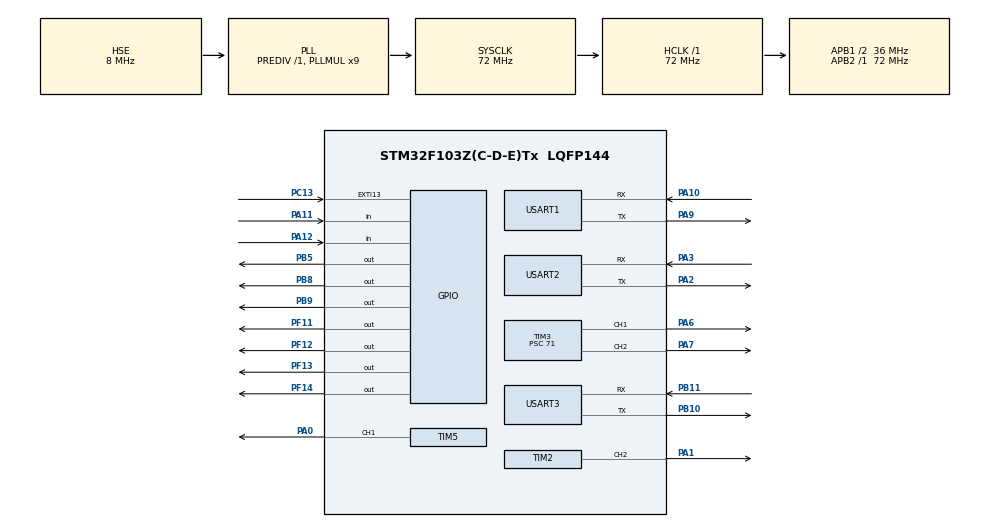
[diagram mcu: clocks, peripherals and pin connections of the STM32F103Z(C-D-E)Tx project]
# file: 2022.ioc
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Mcu.Family=STM32F1
Mcu.Name=STM32F103Z(C-D-E)Tx
Mcu.Package=LQFP144
NVIC.EXTI15_10_IRQn=true\:1\:0\:true\:false\:true\:true\:true\:true
NVIC.PriorityGroup=NVIC_PRIORITYGROUP_4
NVIC.TIM2_IRQn=true\:0\:0\:true\:false\:true\:true\:true\:true
NVIC.TIM5_IRQn=true\:0\:0\:false\:false\:true\:true\:true\:true
NVIC.TIM6_IRQn=true\:3\:0\:true\:false\:true\:true\:true\:true
NVIC.USART1_IRQn=true\:1\:0\:true\:false\:true\:true\:true\:true
NVIC.USART2_IRQn=true\:1\:0\:true\:false\:true\:true\:true\:true
OSC_IN.Mode=HSE-External-Oscillator
OSC_IN.Signal=RCC_OSC_IN
OSC_OUT.Mode=HSE-External-Oscillator
OSC_OUT.Signal=RCC_OSC_OUT
PA0-WKUP.Signal=S_TIM5_CH1
PA1.Signal=S_TIM2_CH2
PA10.Mode=Asynchronous
PA10.Signal=USART1_RX
PA11.GPIO_PuPd=GPIO_PULLUP
PA11.Signal=GPIO_Input
PA12.GPIO_PuPd=GPIO_PULLUP
PA12.Signal=GPIO_Input
PA13.Mode=Serial_Wire
PA13.Signal=SYS_JTMS-SWDIO
PA14.Mode=Serial_Wire
PA14.Signal=SYS_JTCK-SWCLK
PA2.Mode=Asynchronous
PA2.Signal=USART2_TX
PA3.Mode=Asynchronous
PA3.Signal=USART2_RX
PA6.GPIO_Speed=GPIO_SPEED_FREQ_HIGH
PA6.Signal=S_TIM3_CH1
PA7.GPIO_Speed=GPIO_SPEED_FREQ_HIGH
PA7.Signal=S_TIM3_CH2
PA8.GPIO_Speed=GPIO_SPEED_FREQ_HIGH
PA8.Signal=S_TIM1_CH1
PA9.Mode=Asynchronous
PA9.Signal=USART1_TX
PB10.Mode=Asynchronous
PB10.Signal=USART3_TX
PB11.Mode=Asynchronous
PB11.Signal=USART3_RX
PB5.GPIO_ModeDefaultOutputPP=GPIO_MODE_OUTPUT_PP
PB5.GPIO_PuPd=GPIO_PULLDOWN
PB5.GPIO_Speed=GPIO_SPEED_FREQ_HIGH
PB5.PinState=GPIO_PIN_RESET
PB5.Signal=GPIO_Output
PB6.GPIO_Mode=GPIO_MODE_INPUT
PB6.GPIO_PuPd=GPIO_NOPULL
PB6.GPIO_Speed=N/A
PB6.Signal=S_TIM4_CH1
PB7.GPIO_PuPd=GPIO_NOPULL
PB7.Signal=S_TIM4_CH2
PB8.GPIO_ModeDefaultOutputPP=GPIO_MODE_OUTPUT_OD
PB8.GPIO_PuPd=GPIO_NOPULL
PB8.GPIO_Speed=GPIO_SPEED_FREQ_HIGH
PB8.Signal=GPIO_Output
PB9.GPIO_ModeDefaultOutputPP=GPIO_MODE_OUTPUT_OD
PB9.GPIO_PuPd=GPIO_NOPULL
PB9.GPIO_Speed=GPIO_SPEED_FREQ_HIGH
PB9.Signal=GPIO_Output
PC13-TAMPER-RTC.GPIO_ModeDefaultEXTI=GPIO_MODE_IT_FALLING
PC13-TAMPER-RTC.GPIO_PuPd=GPIO_PULLUP
PC13-TAMPER-RTC.Signal=GPXTI13
PF11.GPIO_Speed=GPIO_SPEED_FREQ_HIGH
PF11.PinState=GPIO_PIN_RESET
PF11.Signal=GPIO_Output
PF12.GPIO_PuPd=GPIO_NOPULL
PF12.GPIO_Speed=GPIO_SPEED_FREQ_HIGH
PF12.Signal=GPIO_Output
PF13.GPIO_Speed=GPIO_SPEED_FREQ_HIGH
PF13.Signal=GPIO_Output
PF14.GPIO_Speed=GPIO_SPEED_FREQ_HIGH
PF14.Signal=GPIO_Output
ProjectManager.HeapSize=0x200
ProjectManager.StackSize=0x400
ProjectManager.TargetToolchain=MDK-ARM V5.32
RCC.AHBFreq_Value=72000000
RCC.APB1CLKDivider=RCC_HCLK_DIV2
RCC.APB1Freq_Value=36000000
RCC.APB1TimFreq_Value=72000000
RCC.APB2Freq_Value=72000000
RCC.APB2TimFreq_Value=72000000
RCC.HCLKFreq_Value=72000000
RCC.PLLMUL=RCC_PLL_MUL9
RCC.PLLSourceVirtual=RCC_PLLSOURCE_HSE
RCC.SYSCLKFreq_VALUE=72000000
RCC.SYSCLKSource=RCC_SYSCLKSOURCE_PLLCLK
RCC.USBFreq_Value=72000000
SH.S_TIM1_CH1.0=TIM1_CH1
SH.S_TIM2_CH2.0=TIM2_CH2,PWM Generation2 CH2
SH.S_TIM3_CH1.0=TIM3_CH1,PWM Generation1 CH1
SH.S_TIM3_CH2.0=TIM3_CH2,PWM Generation2 CH2
SH.S_TIM4_CH1.0=TIM4_CH1
SH.S_TIM4_CH2.0=TIM4_CH2
SH.S_TIM5_CH1.0=TIM5_CH1,PWM Generation1 CH1
TIM2.Channel-PWM\ Generation2\ CH2=TIM_CHANNEL_2
TIM2.Period=2000-1
TIM2.Prescaler=71
TIM2.Pulse-PWM\ Generation2\ CH2=1000
TIM3.Channel-PWM\ Generation1\ CH1=TIM_CHANNEL_1
TIM3.Channel-PWM\ Generation2\ CH2=TIM_CHANNEL_2
TIM3.Prescaler=71
TIM5.Channel-PWM\ Generation1\ CH1=TIM_CHANNEL_1
TIM5.Period=2000-1
TIM5.Prescaler=71
TIM6.Period=1000-1
TIM6.Prescaler=720-1
USART1.VirtualMode=VM_ASYNC
USART2.VirtualMode=VM_ASYNC
USART3.VirtualMode=VM_ASYNC
VP_TIM2_VS_ClockSourceINT.Mode=Internal
VP_TIM3_VS_ClockSourceINT.Mode=Internal
VP_TIM5_VS_ClockSourceINT.Mode=Internal
VP_TIM6_VS_ClockSourceINT.Mode=Enable_Timer
board=custom

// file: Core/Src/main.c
/* USER CODE BEGIN Header */
/**
  ******************************************************************************
  * @file           : main.c
  * @brief          : Main program body
  ******************************************************************************
  * @attention
  *
  * Copyright (c) 2025 STMicroelectronics.
  * All rights reserved.
  *
  * This software is licensed under terms that can be found in the LICENSE file
  * in the root directory of this software component.
  * If no LICENSE file comes with this software, it is provided AS-IS.
  *
  ******************************************************************************
  */
/* USER CODE END Header */
#include "main.h"
#include "tim.h"
#include "usart.h"
#include "gpio.h"

/* USER CODE BEGIN Includes */
#include "string.h"
#include "stdio.h"
#include "oled.h"
#include "bsp_uart.h"
#include "dsp_jy901s.h"
#include "pid_motor.h"
#include "timer.h"
#include "step.h"
#include "key.h"
#include "led.h"
#include "task.h"
#include "pid_step.h"
/* USER CODE END Includes */

/* USER CODE BEGIN PD */
uint16_t Red_X,Red_Y  = 0;//红色激光的x坐标和y坐标
uint16_t Green_X,Green_Y = 0;//绿色激光的x坐标和y坐标
/* USER CODE END PD */

void SystemClock_Config(void);

/* USER CODE BEGIN 0 */
uint16_t keynum;
uint16_t current_task = 0;

/* USER CODE END 0 */

int main(void)
{

  /* USER CODE BEGIN 1 */
  //绿色激光笔控制系统
  /* USER CODE END 1 */

  /* MCU Configuration--------------------------------------------------------*/

  /* Reset of all peripherals, Initializes the Flash interface and the Systick. */
  HAL_Init();

  /* Configure the system clock */
  SystemClock_Config();

  /* USER CODE BEGIN SysInit */
  OLED_Init();
  /* USER CODE END SysInit */

  /* Initialize all configured peripherals */
  MX_GPIO_Init();
  MX_USART1_UART_Init();
  MX_USART2_UART_Init();
  MX_TIM6_Init();
  MX_TIM3_Init();
  MX_USART3_UART_Init();
  MX_TIM2_Init();
  MX_TIM5_Init();
  /* USER CODE BEGIN 2 */
  // Motor_Init();
  // Encoder_Init();
  Step_Init();
  Timer_Init();//定时器中断初始化
  K230_UART2_Init();
  HAL_NVIC_SetPriority(USART2_IRQn, 0, 0);
  HAL_NVIC_EnableIRQ(USART2_IRQn);
  /* USER CODE END 2 */
  /* Infinite loop */
  /* USER CODE BEGIN WHILE */
  while (1)
  {
    // Midpiont_X = (((Top_Left_X + Top_Right_X) / 2) + ((Lower_Left_X + Lower_Right_X) / 2 ) ) / 2;
    // Midpiont_Y = (((Top_Left_Y + Top_Right_Y) / 2) + ((Lower_Left_Y + Lower_Right_Y) / 2 ) ) / 2;
    OLED_ShowNum(1,1,Red_X,3);
    OLED_ShowNum(1,5,Red_Y,3);
    OLED_ShowNum(2,1,Green_X,3);
    OLED_ShowNum(2,5,Green_Y,3);
    // OLED_ShowNum(3,1,Lower_Left_X,3);
    // OLED_ShowNum(3,5,Lower_Left_Y,3);
    // OLED_ShowNum(4,1,Lower_Right_X,3);
    // OLED_ShowNum(4,5,Lower_Right_Y,3);
    // OLED_ShowString(1,11,"X:");
    // OLED_ShowNum(1,13,Midpiont_X,3);
    // OLED_ShowString(2,11,"Y:");
    // OLED_ShowNum(2,13,Midpiont_Y,3);
    // OLED_ShowNum(3,13,current_x,3);
    // OLED_ShowNum(4,13,current_y,3);
    keynum = Key_Getnum();
    if(keynum == 1)
    {
      current_task = (current_task + 1) % 5;
    }
    if(keynum == 2)
    {
      switch (current_task)
      {
      case 1: Task1(); break;
      case 2: Task2(); break;
      case 3: Task3(); break;
      case 4: Task4(); break;
      default:
        break;
      }
    }

    /* USER CODE END WHILE */

  }
}

void SystemClock_Config(void)
{
  RCC_OscInitTypeDef RCC_OscInitStruct = {0};
  RCC_ClkInitTypeDef RCC_ClkInitStruct = {0};

  /** Initializes the RCC Oscillators according to the specified parameters
  * in the RCC_OscInitTypeDef structure.
  */
  RCC_OscInitStruct.OscillatorType = RCC_OSCILLATORTYPE_HSE;
  RCC_OscInitStruct.HSEState = RCC_HSE_ON;
  RCC_OscInitStruct.HSEPredivValue = RCC_HSE_PREDIV_DIV1;
  RCC_OscInitStruct.HSIState = RCC_HSI_ON;
  RCC_OscInitStruct.PLL.PLLState = RCC_PLL_ON;
  RCC_OscInitStruct.PLL.PLLSource = RCC_PLLSOURCE_HSE;
  RCC_OscInitStruct.PLL.PLLMUL = RCC_PLL_MUL9;
  if (HAL_RCC_OscConfig(&RCC_OscInitStruct) != HAL_OK)
  {
    Error_Handler();
  }

  /** Initializes the CPU, AHB and APB buses clocks
  */
  RCC_ClkInitStruct.ClockType = RCC_CLOCKTYPE_HCLK|RCC_CLOCKTYPE_SYSCLK
                              |RCC_CLOCKTYPE_PCLK1|RCC_CLOCKTYPE_PCLK2;
  RCC_ClkInitStruct.SYSCLKSource = RCC_SYSCLKSOURCE_PLLCLK;
  RCC_ClkInitStruct.AHBCLKDivider = RCC_SYSCLK_DIV1;
  RCC_ClkInitStruct.APB1CLKDivider = RCC_HCLK_DIV2;
  RCC_ClkInitStruct.APB2CLKDivider = RCC_HCLK_DIV1;

  if (HAL_RCC_ClockConfig(&RCC_ClkInitStruct, FLASH_LATENCY_2) != HAL_OK)
  {
    Error_Handler();
  }
}

void Error_Handler(void)
{
  __disable_irq();
  while (1)
  {
  }
}
